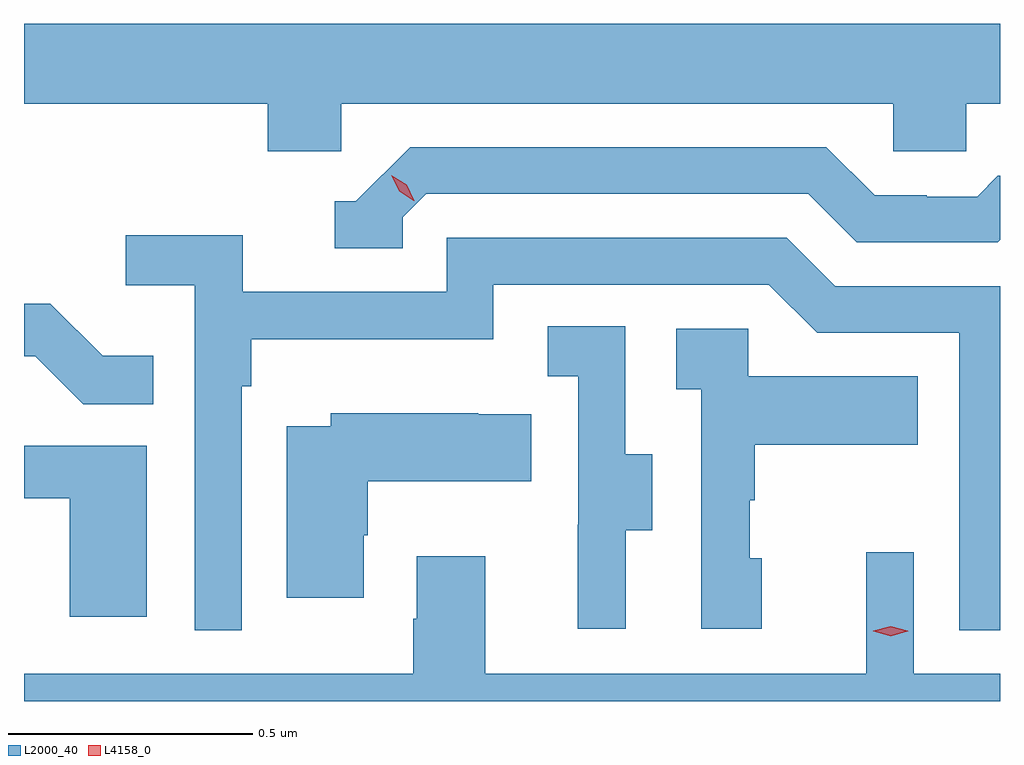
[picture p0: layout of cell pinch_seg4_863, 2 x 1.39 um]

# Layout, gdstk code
import gdstk
lib = gdstk.Library(unit=1e-6, precision=1e-09)
def P(c, l, *ps):  # polygons
    for p in ps: c.add(gdstk.Polygon(p, *l))
L2000_40 = (2000, 40)
L4158_0 = (4158, 0)

pinch_seg4_863 = lib.new_cell('pinch_seg4_863')
P(pinch_seg4_863, L2000_40, [(858.318,796.82),(859.449,796.82),(859.449,796.722),(859.599,796.722),(859.599,796.82),(859.668,796.82),(859.668,796.984),(857.668,796.984),(857.668,796.82),(858.167,796.82),(858.167,796.722),(858.318,796.722)],
  [(858.444,796.587),(858.492,796.635),(859.275,796.635),(859.374,796.536),(859.663,796.536),(859.668,796.541),(859.668,796.672),(859.663,796.672),(859.621,796.629),(859.518,796.629),(859.518,796.632),(859.411,796.632),(859.312,796.731),(858.459,796.731),(858.348,796.62),(858.305,796.62),(858.305,796.524),(858.444,796.524)],
  [(858.114,796.241),(858.134,796.241),(858.134,796.337),(858.63,796.337),(858.63,796.449),(859.194,796.449),(859.293,796.35),(859.584,796.35),(859.584,795.741),(859.668,795.741),(859.668,796.446),(859.33,796.446),(859.231,796.545),(858.534,796.545),(858.534,796.434),(858.116,796.434),(858.116,796.55),(857.877,796.55),(857.877,796.448),(858.018,796.448),(858.018,795.741),(858.114,795.741)],
  [(857.933,796.303),(857.829,796.303),(857.722,796.41),(857.668,796.41),(857.668,796.302),(857.691,796.302),(857.789,796.204),(857.933,796.204)],
  [(858.901,795.946),(858.955,795.946),(858.955,796.101),(858.9,796.101),(858.9,796.364),(858.741,796.364),(858.741,796.261),(858.804,796.261),(858.804,795.957),(858.803,795.957),(858.803,795.744),(858.901,795.744)],
  [(859.18,795.888),(859.155,795.888),(859.155,796.007),(859.165,796.007),(859.165,796.121),(859.499,796.121),(859.499,796.261),(859.152,796.261),(859.152,796.359),(859.005,796.359),(859.005,796.235),(859.056,796.235),(859.056,795.744),(859.18,795.744)],
  [(858.364,795.935),(858.372,795.935),(858.372,796.046),(858.707,796.046),(858.707,796.183),(858.599,796.183),(858.599,796.186),(858.297,796.186),(858.297,796.159),(858.206,796.159),(858.206,795.807),(858.364,795.807)],
  [(857.92,796.119),(857.668,796.119),(857.668,796.011),(857.762,796.011),(857.762,795.768),(857.92,795.768)],
  [(859.668,795.652),(859.491,795.652),(859.491,795.901),(859.394,795.901),(859.394,795.652),(858.613,795.652),(858.613,795.892),(858.473,795.892),(858.473,795.764),(858.466,795.764),(858.466,795.652),(857.668,795.652),(857.668,795.595),(859.668,795.595)])
P(pinch_seg4_863, L4158_0, [(859.444,795.729),(859.408,795.739),(859.408,795.739),(859.408,795.74),(859.444,795.749),(859.479,795.74),(859.48,795.739),(859.479,795.739)],
  [(858.467,796.621),(858.437,796.64),(858.421,796.673),(858.421,796.673),(858.421,796.673),(858.452,796.654),(858.468,796.621),(858.468,796.621)])

lib.write_gds('pinch_seg4_863.gds')
